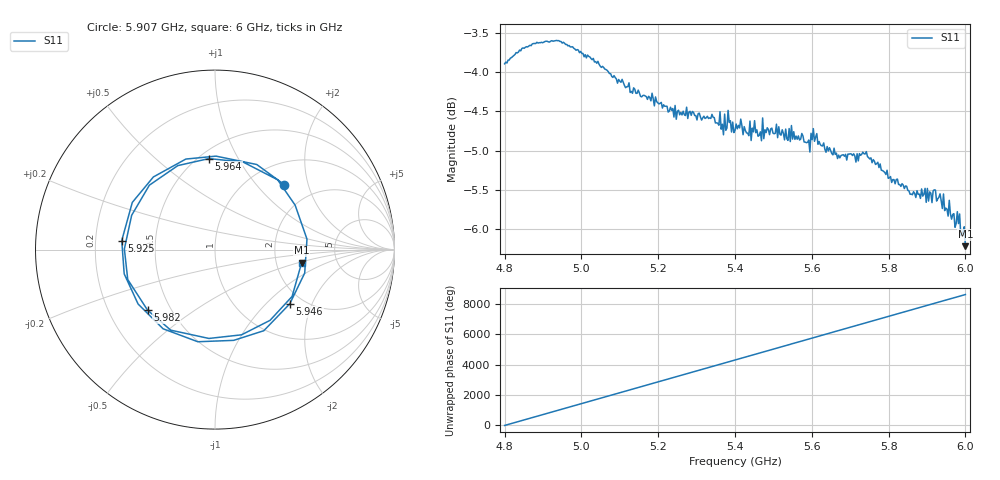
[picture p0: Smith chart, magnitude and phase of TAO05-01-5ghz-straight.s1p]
! NanoVNA-App
! Date: 2026-05-22 15:31:31
! Start: 4.8GHz Stop: 6GHz Points: 401
! S-Parameter data: F S11
# Hz S RI R 50
!  Frequency  S11_Real  S11_Imag
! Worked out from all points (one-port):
!   401 points, 4.8 GHz to 6 GHz, reference 50 ohm
!   lowest |S11| = -6.2 dB at 6 GHz (marker M1), VSWR 2.91, Z = 140 - j26.6 ohm
!   |S11| at or under -10 dB: nowhere
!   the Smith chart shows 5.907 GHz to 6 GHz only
!   S11 on the Smith chart (normalised r, x): 5.907 GHz: 1.41, +1.42; 5.925 GHz: 0.31, +0.04; 5.946 GHz: 1.70, -1.40; 5.964 GHz: 0.56, +0.76; 5.982 GHz: 0.37, -0.34; 6 GHz: 2.79, -0.53
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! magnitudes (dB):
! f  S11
! 4.8 GHz  -3.9
! 4.878 GHz  -3.6
! 4.95 GHz  -3.6
! 5.1 GHz  -4.1
! 5.25 GHz  -4.5
! 5.34 GHz  -4.5
! 5.37 GHz  -4.8
! 5.388 GHz  -4.6
! 5.4 GHz  -4.7
! 5.436 GHz  -4.8
! 5.451 GHz  -4.6
! 5.463 GHz  -4.8
! 5.478 GHz  -4.7
! 5.55 GHz  -4.9
! 5.589 GHz  -4.9
! 5.607 GHz  -4.9
! 5.667 GHz  -5.1
! 5.7 GHz  -5.0
! 5.739 GHz  -5.0
! 5.805 GHz  -5.3
! 5.85 GHz  -5.5
! 5.907 GHz  -5.5
! 5.925 GHz  -5.6
! 5.946 GHz  -5.8
! 5.964 GHz  -5.9
! 5.97 GHz  -5.8
! 5.982 GHz  -5.9
! 6 GHz  -6.2
